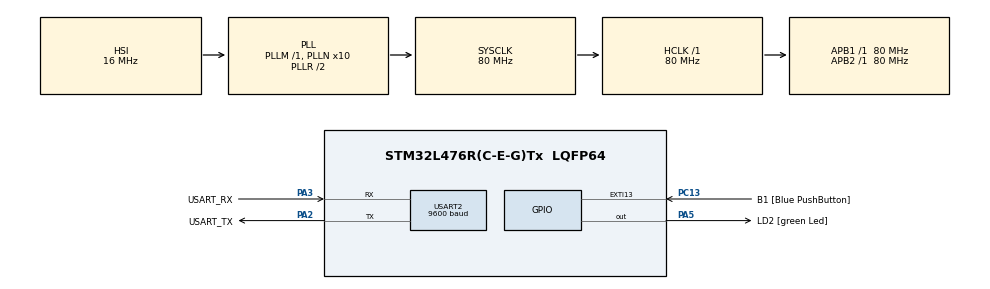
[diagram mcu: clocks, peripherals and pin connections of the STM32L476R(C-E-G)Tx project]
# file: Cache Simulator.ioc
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Dma.Request0=USART2_RX
Dma.USART2_RX.0.Direction=DMA_PERIPH_TO_MEMORY
Dma.USART2_RX.0.Instance=DMA1_Channel6
Dma.USART2_RX.0.MemDataAlignment=DMA_MDATAALIGN_BYTE
Dma.USART2_RX.0.MemInc=DMA_MINC_ENABLE
Dma.USART2_RX.0.Mode=DMA_CIRCULAR
Dma.USART2_RX.0.PeriphDataAlignment=DMA_PDATAALIGN_BYTE
Dma.USART2_RX.0.PeriphInc=DMA_PINC_DISABLE
Dma.USART2_RX.0.Priority=DMA_PRIORITY_MEDIUM
Mcu.Family=STM32L4
Mcu.Name=STM32L476R(C-E-G)Tx
Mcu.Package=LQFP64
NVIC.DMA1_Channel6_IRQn=true\:0\:0\:false\:false\:true\:false\:true\:true
NVIC.PriorityGroup=NVIC_PRIORITYGROUP_4
PA13\ (JTMS-SWDIO).GPIO_Label=TMS
PA13\ (JTMS-SWDIO).Mode=Serial_Wire
PA13\ (JTMS-SWDIO).Signal=SYS_JTMS-SWDIO
PA14\ (JTCK-SWCLK).GPIO_Label=TCK
PA14\ (JTCK-SWCLK).Mode=Serial_Wire
PA14\ (JTCK-SWCLK).Signal=SYS_JTCK-SWCLK
PA2.GPIO_Label=USART_TX
PA2.GPIO_Mode=GPIO_MODE_AF_PP
PA2.GPIO_PuPd=GPIO_NOPULL
PA2.GPIO_Speed=GPIO_SPEED_FREQ_VERY_HIGH
PA2.Mode=Asynchronous
PA2.Signal=USART2_TX
PA3.GPIO_Label=USART_RX
PA3.GPIO_Mode=GPIO_MODE_AF_PP
PA3.GPIO_PuPd=GPIO_NOPULL
PA3.GPIO_Speed=GPIO_SPEED_FREQ_VERY_HIGH
PA3.Mode=Asynchronous
PA3.Signal=USART2_RX
PA5.GPIO_Label=LD2 [green Led]
PA5.GPIO_ModeDefaultOutputPP=GPIO_MODE_OUTPUT_PP
PA5.GPIO_PuPd=GPIO_NOPULL
PA5.GPIO_Speed=GPIO_SPEED_FREQ_LOW
PA5.Signal=GPIO_Output
PB3\ (JTDO-TRACESWO).GPIO_Label=SWO
PB3\ (JTDO-TRACESWO).Signal=SYS_JTDO-SWO
PC13.GPIO_Label=B1 [Blue PushButton]
PC13.GPIO_ModeDefaultEXTI=GPIO_MODE_IT_FALLING
PC13.GPIO_PuPd=GPIO_NOPULL
PC13.Signal=GPXTI13
PC14-OSC32_IN\ (PC14).Mode=LSE-External-Oscillator
PC14-OSC32_IN\ (PC14).Signal=RCC_OSC32_IN
PC15-OSC32_OUT\ (PC15).Mode=LSE-External-Oscillator
PC15-OSC32_OUT\ (PC15).Signal=RCC_OSC32_OUT
PH0-OSC_IN\ (PH0).Signal=RCC_OSC_IN
PH1-OSC_OUT\ (PH1).Signal=RCC_OSC_OUT
ProjectManager.HeapSize=0x200
ProjectManager.StackSize=0x400
ProjectManager.TargetToolchain=STM32CubeIDE
RCC.ADCFreq_Value=64000000
RCC.AHBFreq_Value=80000000
RCC.APB1Freq_Value=80000000
RCC.APB1TimFreq_Value=80000000
RCC.APB2Freq_Value=80000000
RCC.APB2TimFreq_Value=80000000
RCC.CortexFreq_Value=80000000
RCC.HCLKFreq_Value=80000000
RCC.HSE_VALUE=8000000
RCC.HSI_VALUE=16000000
RCC.MSI_VALUE=4000000
RCC.PLLN=10
RCC.PLLSourceVirtual=RCC_PLLSOURCE_HSI
RCC.PREFETCH_ENABLE=1
RCC.SYSCLKFreq_VALUE=80000000
RCC.SYSCLKSource=RCC_SYSCLKSOURCE_PLLCLK
RCC.USBFreq_Value=64000000
RCC.VCOOutputFreq_Value=160000000
USART2.BaudRate=9600
USART2.VirtualMode-Asynchronous=VM_ASYNC
board=NUCLEO-L476RG

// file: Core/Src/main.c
/* USER CODE BEGIN Header */
/**
  ******************************************************************************
  * @file           : main.c
  * @brief          : Main program body
  ******************************************************************************
  * @attention
  *
  * Copyright (c) 2025 STMicroelectronics.
  * All rights reserved.
  *
  * This software is licensed under terms that can be found in the LICENSE file
  * in the root directory of this software component.
  * If no LICENSE file comes with this software, it is provided AS-IS.
  *
  ******************************************************************************
  */
/* USER CODE END Header */
#include "main.h"

/* USER CODE BEGIN Includes */
#include <stdio.h>
#include <math.h>
#include <inttypes.h>
#include <string.h>
/* USER CODE END Includes */

UART_HandleTypeDef huart2;
DMA_HandleTypeDef hdma_usart2_rx;

void SystemClock_Config(void);
static void MX_GPIO_Init(void);
static void MX_DMA_Init(void);
static void MX_USART2_UART_Init(void);

/* USER CODE BEGIN 0 */
//UART_Buffer for DMA.
uint8_t UART_Buffer[12] = {0};
//Largest possible cache.
uint32_t cache[2048] = {0};
//Used to keep track of indexes that are valid. Otherwise, address 0 returns a hit on the first try.
_Bool valid[2048] = {0};
//Used to keep track of what address is being sent.
uint32_t sequenceCounter = 0;
//Variables describing cache setup.
uint32_t initialAddressNum = 0;
uint32_t mainMemAmount = 0;
uint32_t cacheMemAmount = 0;
uint32_t cacheBlockSize = 0;
uint32_t wordSize = 0;
//Variables used to store information about the addresses. Calculated from cache setup variables.
uint32_t addressNum = 0;
uint32_t bitNum = 0;
uint32_t offset = 0;
uint32_t indexInfo = 0;
//Variables used to print information to UART. Note: information is printed all at once.
char stringBuffer[4096] = {'\0'};
char* bufferLoc = stringBuffer;
//Variable used to keep track of the number of cache hits.
uint32_t hits = 0;

void getCacheEntry(uint32_t address){
	uint32_t addressOffset = address % cacheBlockSize;
	uint32_t addressIndex = (address/cacheBlockSize) % (cacheMemAmount / cacheBlockSize);
	uint32_t addressTag = address / cacheMemAmount;
	//Add address information to buffer for printing.
	bufferLoc += sprintf(bufferLoc, "0x%08" PRIX32 " - 0x%08" PRIX32 " - 0x%08" PRIX32 " - 0x%08" PRIX32 " - ", address, addressTag, addressIndex, addressOffset);
	//Cache hit.
	if(valid[addressIndex] && cache[addressIndex] == addressTag){
		 bufferLoc += sprintf(bufferLoc, "hit\r\n");
		 hits++;
	}
	//Cache miss.
	else{
		//update cache to store value.
		cache[addressIndex] = addressTag;
		//Update valid array.
		valid[addressIndex] = 1;
		bufferLoc += sprintf(bufferLoc, "miss\r\n");
	}
}

void HAL_UART_RxCpltCallback(UART_HandleTypeDef *huart) {
	//Copy contents of UART_Buffer to safer buffer that is null terminated.
	uint32_t received_value = 0;
	char hex_str[13];
	memcpy(hex_str, UART_Buffer, 12);
	hex_str[12] = '\0';
	if(sscanf(hex_str, "0x%" SCNx32, &received_value) == 1){
		//HAL_UART_Transmit(&huart2, "Entering Switch\r\n", sizeof("Entering Switch\r\n"), HAL_MAX_DELAY);
		switch(sequenceCounter){
			case 0:
				//First address contains the number of addresses.
				addressNum = received_value;
				initialAddressNum = received_value;
				break;
			case 1:
				//Second address contains the size of main memory.
				mainMemAmount = received_value;
				break;
			case 2:
				//Third address contains the cache memory size.
				cacheMemAmount = received_value;
				break;
			case 3:
				//Fourth address contains the cache block size.
				cacheBlockSize = received_value;
				break;
			case 4:
				//Fifth address contains teh word size.
				wordSize = received_value;
				//Calculate cache statistics.
				bitNum = (uint8_t)log2(mainMemAmount);
				offset = (uint8_t)log2(cacheBlockSize / wordSize);
				indexInfo = (uint8_t)log2(cacheMemAmount / cacheBlockSize);
				break;
			default:
				//After the fifth address, use the sent address to access cache.
				getCacheEntry(received_value);
				addressNum--;
				//If all addresses were sent, print cache statistics over UART.
				if(addressNum == 0){
					bufferLoc += sprintf(bufferLoc, "Memory address lines = %" PRIu32 "\r\n", bitNum);
					bufferLoc += sprintf(bufferLoc, "Tag bits = %" PRIu32 "\r\n", bitNum - offset - indexInfo);
					bufferLoc += sprintf(bufferLoc, "Index bits = %" PRIu32 "\r\n", indexInfo);
					bufferLoc += sprintf(bufferLoc, "Offset bits = %" PRIu32 "\r\n", offset);
					bufferLoc += sprintf(bufferLoc, "Hit rate = %" PRIu32 "/%" PRIu32 "= %f%%\r\n", hits, initialAddressNum, (double)hits/initialAddressNum * 100);
					HAL_UART_Transmit(&huart2, (uint8_t*)stringBuffer, bufferLoc-stringBuffer, HAL_MAX_DELAY);
				}
				break;
		}
	}
	sequenceCounter++;
	//Tell DMA to get next value
	HAL_UART_Receive_DMA(&huart2, UART_Buffer, 12);
}

/* USER CODE END 0 */

int main(void)
{

  /* MCU Configuration--------------------------------------------------------*/

  /* Reset of all peripherals, Initializes the Flash interface and the Systick. */
  HAL_Init();

  /* Configure the system clock */
  SystemClock_Config();

  /* Initialize all configured peripherals */
  MX_GPIO_Init();
  MX_DMA_Init();
  MX_USART2_UART_Init();
  /* USER CODE BEGIN 2 */
  //Initiate DMA transfer 12 bytes at a time.
  HAL_UART_Receive_DMA(&huart2, UART_Buffer, 12);
  /* USER CODE END 2 */

  /* Infinite loop */
  while(1){

  }
}

void SystemClock_Config(void)
{
  RCC_OscInitTypeDef RCC_OscInitStruct = {0};
  RCC_ClkInitTypeDef RCC_ClkInitStruct = {0};

  /** Configure the main internal regulator output voltage
  */
  if (HAL_PWREx_ControlVoltageScaling(PWR_REGULATOR_VOLTAGE_SCALE1) != HAL_OK)
  {
    Error_Handler();
  }

  /** Initializes the RCC Oscillators according to the specified parameters
  * in the RCC_OscInitTypeDef structure.
  */
  RCC_OscInitStruct.OscillatorType = RCC_OSCILLATORTYPE_HSI;
  RCC_OscInitStruct.HSIState = RCC_HSI_ON;
  RCC_OscInitStruct.HSICalibrationValue = RCC_HSICALIBRATION_DEFAULT;
  RCC_OscInitStruct.PLL.PLLState = RCC_PLL_ON;
  RCC_OscInitStruct.PLL.PLLSource = RCC_PLLSOURCE_HSI;
  RCC_OscInitStruct.PLL.PLLM = 1;
  RCC_OscInitStruct.PLL.PLLN = 10;
  RCC_OscInitStruct.PLL.PLLP = RCC_PLLP_DIV7;
  RCC_OscInitStruct.PLL.PLLQ = RCC_PLLQ_DIV2;
  RCC_OscInitStruct.PLL.PLLR = RCC_PLLR_DIV2;
  if (HAL_RCC_OscConfig(&RCC_OscInitStruct) != HAL_OK)
  {
    Error_Handler();
  }

  /** Initializes the CPU, AHB and APB buses clocks
  */
  RCC_ClkInitStruct.ClockType = RCC_CLOCKTYPE_HCLK|RCC_CLOCKTYPE_SYSCLK
                              |RCC_CLOCKTYPE_PCLK1|RCC_CLOCKTYPE_PCLK2;
  RCC_ClkInitStruct.SYSCLKSource = RCC_SYSCLKSOURCE_PLLCLK;
  RCC_ClkInitStruct.AHBCLKDivider = RCC_SYSCLK_DIV1;
  RCC_ClkInitStruct.APB1CLKDivider = RCC_HCLK_DIV1;
  RCC_ClkInitStruct.APB2CLKDivider = RCC_HCLK_DIV1;

  if (HAL_RCC_ClockConfig(&RCC_ClkInitStruct, FLASH_LATENCY_4) != HAL_OK)
  {
    Error_Handler();
  }
}

static void MX_USART2_UART_Init(void)
{

  huart2.Instance = USART2;
  huart2.Init.BaudRate = 9600;
  huart2.Init.WordLength = UART_WORDLENGTH_8B;
  huart2.Init.StopBits = UART_STOPBITS_1;
  huart2.Init.Parity = UART_PARITY_NONE;
  huart2.Init.Mode = UART_MODE_TX_RX;
  huart2.Init.HwFlowCtl = UART_HWCONTROL_NONE;
  huart2.Init.OverSampling = UART_OVERSAMPLING_16;
  huart2.Init.OneBitSampling = UART_ONE_BIT_SAMPLE_DISABLE;
  huart2.AdvancedInit.AdvFeatureInit = UART_ADVFEATURE_NO_INIT;
  if (HAL_UART_Init(&huart2) != HAL_OK)
  {
    Error_Handler();
  }

}

static void MX_DMA_Init(void)
{

  /* DMA controller clock enable */
  __HAL_RCC_DMA1_CLK_ENABLE();

  /* DMA interrupt init */
  /* DMA1_Channel6_IRQn interrupt configuration */
  HAL_NVIC_SetPriority(DMA1_Channel6_IRQn, 0, 0);
  HAL_NVIC_EnableIRQ(DMA1_Channel6_IRQn);

}

static void MX_GPIO_Init(void)
{
  GPIO_InitTypeDef GPIO_InitStruct = {0};

  /* GPIO Ports Clock Enable */
  __HAL_RCC_GPIOC_CLK_ENABLE();
  __HAL_RCC_GPIOH_CLK_ENABLE();
  __HAL_RCC_GPIOA_CLK_ENABLE();
  __HAL_RCC_GPIOB_CLK_ENABLE();

  /*Configure GPIO pin Output Level */
  HAL_GPIO_WritePin(LD2_GPIO_Port, LD2_Pin, GPIO_PIN_RESET);

  /*Configure GPIO pin : B1_Pin */
  GPIO_InitStruct.Pin = B1_Pin;
  GPIO_InitStruct.Mode = GPIO_MODE_IT_FALLING;
  GPIO_InitStruct.Pull = GPIO_NOPULL;
  HAL_GPIO_Init(B1_GPIO_Port, &GPIO_InitStruct);

  /*Configure GPIO pin : LD2_Pin */
  GPIO_InitStruct.Pin = LD2_Pin;
  GPIO_InitStruct.Mode = GPIO_MODE_OUTPUT_PP;
  GPIO_InitStruct.Pull = GPIO_NOPULL;
  GPIO_InitStruct.Speed = GPIO_SPEED_FREQ_LOW;
  HAL_GPIO_Init(LD2_GPIO_Port, &GPIO_InitStruct);

}

void Error_Handler(void)
{
  __disable_irq();
  while (1)
  {
  }
}
